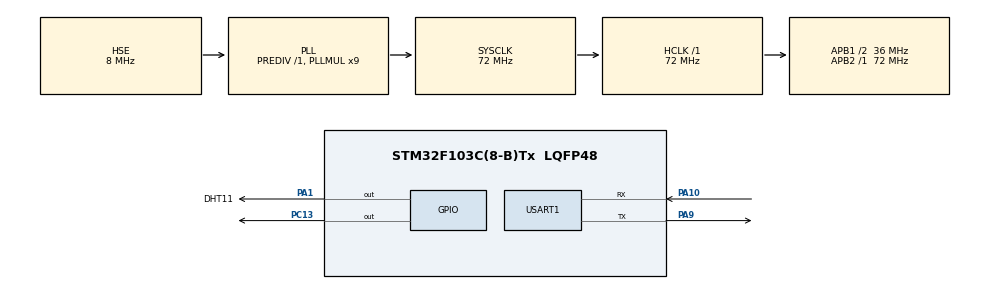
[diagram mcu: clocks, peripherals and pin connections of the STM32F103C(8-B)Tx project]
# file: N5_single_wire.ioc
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Mcu.Family=STM32F1
Mcu.Name=STM32F103C(8-B)Tx
Mcu.Package=LQFP48
NVIC.PriorityGroup=NVIC_PRIORITYGROUP_4
PA1.GPIO_Label=DHT11
PA1.Signal=GPIO_Output
PA10.Mode=Asynchronous
PA10.Signal=USART1_RX
PA13.Mode=Serial_Wire
PA13.Signal=SYS_JTMS-SWDIO
PA14.Mode=Serial_Wire
PA14.Signal=SYS_JTCK-SWCLK
PA9.Mode=Asynchronous
PA9.Signal=USART1_TX
PC13-TAMPER-RTC.Signal=GPIO_Output
PD0-OSC_IN.Mode=HSE-External-Oscillator
PD0-OSC_IN.Signal=RCC_OSC_IN
PD1-OSC_OUT.Mode=HSE-External-Oscillator
PD1-OSC_OUT.Signal=RCC_OSC_OUT
ProjectManager.HeapSize=0x200
ProjectManager.StackSize=0x400
ProjectManager.TargetToolchain=CMake
RCC.AHBFreq_Value=72000000
RCC.APB1CLKDivider=RCC_HCLK_DIV2
RCC.APB1Freq_Value=36000000
RCC.APB1TimFreq_Value=72000000
RCC.APB2Freq_Value=72000000
RCC.APB2TimFreq_Value=72000000
RCC.HCLKFreq_Value=72000000
RCC.PLLMUL=RCC_PLL_MUL9
RCC.PLLSourceVirtual=RCC_PLLSOURCE_HSE
RCC.SYSCLKFreq_VALUE=72000000
RCC.SYSCLKSource=RCC_SYSCLKSOURCE_PLLCLK
RCC.USBFreq_Value=72000000
USART1.VirtualMode=VM_ASYNC
board=custom

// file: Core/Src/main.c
/* USER CODE BEGIN Header */
/**
  ******************************************************************************
  * @file           : main.c
  * @brief          : Main program body
  ******************************************************************************
  * @attention
  *
  * Copyright (c) 2026 STMicroelectronics.
  * All rights reserved.
  *
  * This software is licensed under terms that can be found in the LICENSE file
  * in the root directory of this software component.
  * If no LICENSE file comes with this software, it is provided AS-IS.
  *
  ******************************************************************************
  */
/* USER CODE END Header */
#include "main.h"
#include "usart.h"
#include "gpio.h"

/* USER CODE BEGIN Includes */
#include "dwt_delay.h"
#include "dht11.h"
#include <stdio.h>
#include <stdint.h>
/* USER CODE END Includes */

void SystemClock_Config(void);

/* USER CODE BEGIN 0 */
/* GCC + newlib(nano) 工具链下, printf 并不调用 fputc, 而是经
   _write() 逐字节调用 __io_putchar()(见 syscalls.c)。
   所以这里必须实现 __io_putchar; 写成 fputc 在这条工具链下不会被调用,
   导致 printf 没有任何输出(fputc 是 Keil/ARMCC 的重定向钩子)。 */
int __io_putchar(int ch) {
  HAL_UART_Transmit(&huart1, (uint8_t*)&ch, 1, 0xFFFF);
  return ch;
}
/* USER CODE END 0 */

int main(void)
{

  /* MCU Configuration--------------------------------------------------------*/

  /* Reset of all peripherals, Initializes the Flash interface and the Systick. */
  HAL_Init();

  /* Configure the system clock */
  SystemClock_Config();

  /* Initialize all configured peripherals */
  MX_GPIO_Init();
  MX_USART1_UART_Init();
  /* USER CODE BEGIN 2 */
  DWT_Init();                         // 启动微秒秒表
  printf("DHT11 test start\r\n");
  HAL_Delay(1000);                    // 上电后等 DHT11 稳定(它要 ~1s 准备)
  /* USER CODE END 2 */

  /* Infinite loop */
  while (1)
  {

    /* USER CODE BEGIN 3 */
    uint8_t dht_data[5];
    uint8_t ret = DHT11_Read(dht_data);
    if (ret == 0) {
        printf("Humi: %d%%  Temp: %dC\r\n", dht_data[0], dht_data[2]);
    } else if (ret == 1) {
        printf("DHT11 no response\r\n");
    } else {
        printf("DHT11 checksum error\r\n");
    }
    HAL_Delay(2000);
  }
  /* USER CODE END 3 */
}

void SystemClock_Config(void)
{
  RCC_OscInitTypeDef RCC_OscInitStruct = {0};
  RCC_ClkInitTypeDef RCC_ClkInitStruct = {0};

  /** Initializes the RCC Oscillators according to the specified parameters
  * in the RCC_OscInitTypeDef structure.
  */
  RCC_OscInitStruct.OscillatorType = RCC_OSCILLATORTYPE_HSE;
  RCC_OscInitStruct.HSEState = RCC_HSE_ON;
  RCC_OscInitStruct.HSEPredivValue = RCC_HSE_PREDIV_DIV1;
  RCC_OscInitStruct.HSIState = RCC_HSI_ON;
  RCC_OscInitStruct.PLL.PLLState = RCC_PLL_ON;
  RCC_OscInitStruct.PLL.PLLSource = RCC_PLLSOURCE_HSE;
  RCC_OscInitStruct.PLL.PLLMUL = RCC_PLL_MUL9;
  if (HAL_RCC_OscConfig(&RCC_OscInitStruct) != HAL_OK)
  {
    Error_Handler();
  }

  /** Initializes the CPU, AHB and APB buses clocks
  */
  RCC_ClkInitStruct.ClockType = RCC_CLOCKTYPE_HCLK|RCC_CLOCKTYPE_SYSCLK
                              |RCC_CLOCKTYPE_PCLK1|RCC_CLOCKTYPE_PCLK2;
  RCC_ClkInitStruct.SYSCLKSource = RCC_SYSCLKSOURCE_PLLCLK;
  RCC_ClkInitStruct.AHBCLKDivider = RCC_SYSCLK_DIV1;
  RCC_ClkInitStruct.APB1CLKDivider = RCC_HCLK_DIV2;
  RCC_ClkInitStruct.APB2CLKDivider = RCC_HCLK_DIV1;

  if (HAL_RCC_ClockConfig(&RCC_ClkInitStruct, FLASH_LATENCY_2) != HAL_OK)
  {
    Error_Handler();
  }
}

void Error_Handler(void)
{
  __disable_irq();
  while (1)
  {
  }
}
